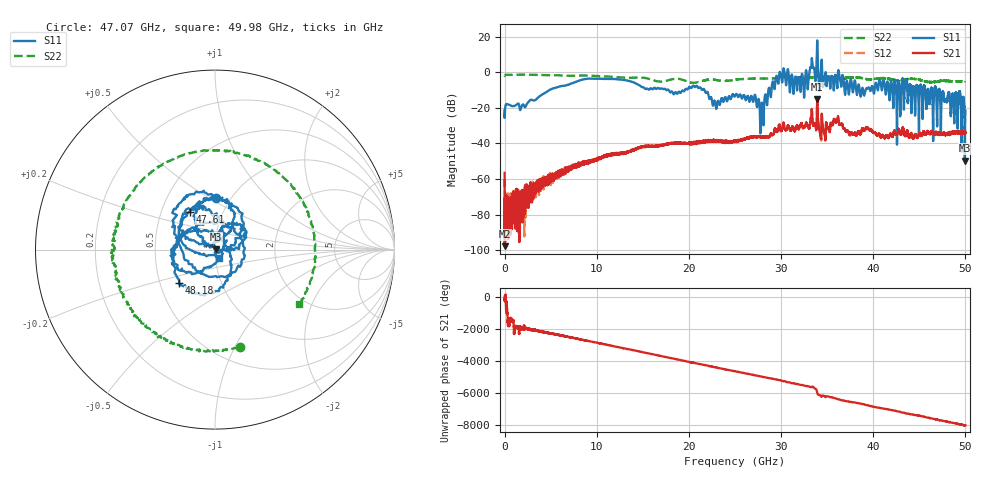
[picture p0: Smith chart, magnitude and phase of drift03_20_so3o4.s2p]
!Created with skrf (http://scikit-rf.org).
# Hz S RI R 50.0
!freq ReS11 ImS11 ReS21 ImS21 ReS12 ImS12 ReS22 ImS22
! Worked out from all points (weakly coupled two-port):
!   10001 points, 300 kHz to 50 GHz, reference 50 ohm
!   highest |S21| = -15.09 dB at 33.92 GHz (marker M1); lowest = -97.6 dB at 15.3 MHz (marker M2)
!   lowest |S11| = -49.6 dB at 49.95 GHz (marker M3), VSWR 1.01, Z = 50.3 + j0.0889 ohm
!   |S11| at or under -10 dB: start of sweep to 4.852 GHz; 21.69 GHz to 28.62 GHz (6.932 GHz wide, 27.6 % of centre); 47.19 GHz to end of sweep (the widest 3 of 44)
!   |S22| runs from -5.9 to -1.3 dB; largest |S21 - S12| = 0.021
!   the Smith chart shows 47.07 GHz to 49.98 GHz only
!   S11 on the Smith chart (normalised r, x): 47.07 GHz: 0.85, +0.54; 47.61 GHz: 0.69, +0.31; 48.18 GHz: 0.63, -0.26; 49.98 GHz: 1.04, -0.09
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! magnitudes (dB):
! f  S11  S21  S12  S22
! 300 kHz  -21.5  -56.5  -59.7  -2.0
! 15.3 MHz  -24.5  -97.6  -87.0  -2.0
! 370.3 MHz  -18.1  -71.6  -76.3  -1.4
! 8.335 GHz  -4.3  -51.9  -51.7  -1.9
! 16.67 GHz  -8.8  -41.7  -41.3  -5.2
! 21.01 GHz  -8.8  -39.4  -38.8  -5.5
! 22.81 GHz  -16.1  -38.3  -38.5  -4.3
! 25 GHz  -13.4  -39.0  -38.8  -4.3
! 27.02 GHz  -15.8  -36.4  -36.2  -3.5
! 27.92 GHz  -17.2  -36.4  -36.4  -3.5
! 29.69 GHz  -6.5  -31.8  -31.6  -3.1
! 32.32 GHz  -1.5  -30.6  -30.8  -3.3
! 33.34 GHz  7.8  -20.6  -20.9  -2.9
! 33.92 GHz  17.8  -15.1  -15.4  -2.5
! 38.81 GHz  -8.8  -31.5  -31.9  -3.4
! 41.67 GHz  -9.0  -36.6  -36.7  -3.7
! 47.07 GHz  -10.8  -35.1  -34.9  -5.1
! 47.61 GHz  -11.9  -34.0  -34.7  -4.9
! 48.18 GHz  -11.3  -34.2  -34.3  -5.0
! 49.95 GHz  -49.6  -33.7  -33.7  -5.0
! 49.98 GHz  -26.2  -34.1  -33.9  -5.1
! 50 GHz  -21.7  -34.1  -33.9  -5.0
